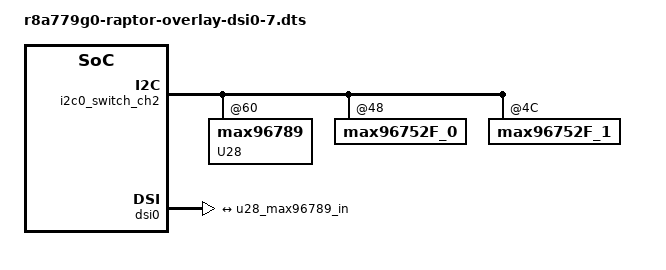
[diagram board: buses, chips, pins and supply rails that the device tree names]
// SPDX-License-Identifier: GPL-2.0

#include <dt-bindings/clock/r8a779g0-cpg-mssr.h>

/dts-v1/;
/plugin/;

/* overlay dsi to max96789 and 7" panel - disable sn65dsi86  */

&i2c0_switch_ch0 {
	U21: sn65dsi86@2c {
		status = "disabled";
	};
};

&i2c0_switch_ch2 {
	U28: max96789@60 {
		status = "okay";
	};

	max96752F_0@48 {
		status = "okay";
	};

	max96752F_1@4C {
		status = "okay";
	};
};

&dsi0 {
	ports {
		port@1 {
			endpoint {
				remote-endpoint = <&u28_max96789_in>;
			};
		};
	};
};
